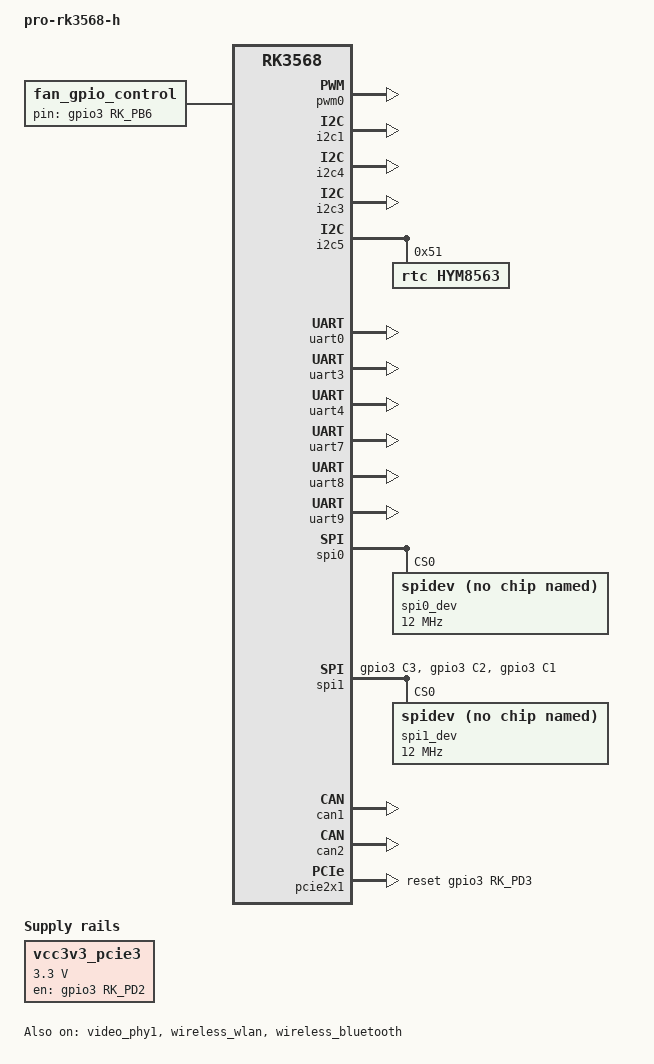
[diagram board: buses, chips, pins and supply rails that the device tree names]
// SPDX-License-Identifier: (GPL-2.0+ OR MIT)
/*
 * Copyright (c) 2020 Rockchip Electronics Co., Ltd.
 *
 */

/dts-v1/;

//rk3568-evb1-ddr4-v10
//#include "rk3568-evb1-ddr4-v10.dtsi"

#include "rk3568-evb-rpdzkj-rk809-pwm-pcie-wifi.dtsi"


#include "../rk3568-linux.dtsi"

/*************************HDMI IN***********************/
#include "rp-mipi-camera-rk628d-csi2hdmi.dtsi"
/***************************************************/

/*************************PCIE***********************/
#include "rk3568-pcie2x1.dtsi"
#include "rp-pcie-5g.dtsi"
/***************************************************/

/*************************adc key***********************/
#include "rp-adc-key.dtsi"
/***************************************************/

/*************************gmac***********************/
#include "rp-gmac0-pro-rk3568.dtsi"
#include "rp-gmac1-m1-pro-rk3568.dtsi"
/***************************************************/

/*************************wifi***********************/
#include "rp-wifi-bt-ap6275p-rk3568.dtsi"
/***************************************************/

/*************************CAN**********************/
#include "rp-can1-m1-rk3568.dtsi"
#include "rp-can2-m0-rk3568.dtsi"
/**************************************************/



/***************** SINGLE LCD (LCD + HDMI) ****************/
#include "pro-rk3568-h-single-lcd-gpio.dtsi" 

/* HDMI */
//#include "rp-lcd-mipi2hdmi-lt8912.dtsi" //dsi1-lt8912-hdmi + HDMI

/* MIPI DSI0 */
//#include "rp-lcd-mipi0-5-720-1280.dtsi"
//#include "rp-lcd-mipi0-5-720-1280-v2.dtsi"
//#include "rp-lcd-mipi0-5-720-1280-v2-boxTP.dtsi"
//#include "rp-lcd-mipi0-5.5-720-1280.dtsi"
//#include "rp-lcd-mipi0-5.5-720-1280-v2.dtsi"
//#include "rp-lcd-mipi0-5.5-1080-1920.dtsi"
//#include "rp-lcd-mipi0-7-720-1280.dtsi"
//#include "rp-lcd-mipi0-7-1024-600.dtsi"
//#include "rp-lcd-mipi0-7-1200-1920.dtsi"
//#include "rp-lcd-mipi0-8-800-1280.dtsi"
//#include "rp-lcd-mipi0-8-800-1280-v2.dtsi"
#include "rp-lcd-mipi0-8-800-1280-v3.dtsi"
//#include "rp-lcd-mipi0-8-1200-1920.dtsi"
//#include "rp-lcd-mipi0-10-800-1280.dtsi"
//#include "rp-lcd-mipi0-10-800-1280-v2.dtsi"
//#include "rp-lcd-mipi0-10-800-1280-v3.dtsi"
//#include "rp-lcd-mipi0-10-1920-1200.dtsi"
//#include "rp-lcd-mipi0-10-1920-1200-jc.dtsi"


/* LVDS */
//#include "rp-lcd-lvds-7-1024-600-v2.dtsi"
//#include "rp-lcd-lvds-10-1024-600.dtsi"
//#include "rp-lcd-lvds-10-1280-800.dtsi"

/*MIPI TO LVDS */
//#include "rp-lcd-mipi0tolvds-gm8775c-10-1024-600-raw.dtsi"
//#include "rp-lcd-mipi0tolvds-gm8775c-1920-1080.dtsi"


/* EDP */
//#include "rp-lcd-edp-13-1920-1080.dtsi"
//#include "rp-lcd-edp-13.3-15.6-1920-1080.dtsi"
//null
//null
//null




#ifdef RP_TRIPLE_LCD
    #include "pro-rk3568-triple-lcd-gpio.dtsi"      // if use triple lcd, must enable it
#endif

#ifdef RP_DUAL_LCD
      #include "pro-rk3568-dual-lcd-gpio.dtsi"        // if use dual lcd, must enable it
#endif






/{

    model = "pro-rk3568-h";
    compatible = "rpdzkj,pro-rk3568-h", "rockchip,rk3568";

    fan_gpio_control {
            compatible = "fan_gpio_control";
            gpio-pin = <&gpio3 RK_PB6 GPIO_ACTIVE_HIGH>;
            thermal-zone = "soc-thermal";
            threshold-temp = <60000>; //60C
            running-time = <10000>; //10s
            status = "okay";
        };
       

        vcc3v3_pcie3: gpio-regulator-pcie3 {
                compatible = "regulator-fixed";
                regulator-name = "vcc3v3_pcie3";
                regulator-always-on;
                regulator-boot-on;
                regulator-min-microvolt = <3300000>;
                regulator-max-microvolt = <3300000>;
                enable-active-high;
                gpio = <&gpio3 RK_PD2 GPIO_ACTIVE_HIGH>;    //In the uboot phase fixed.c resolves gpio
                pinctrl-names = "default";
                pinctrl-0 = <&vcc3v3_pcie30>;
        };
    
        
        rp_power{
                status = "okay";
                compatible = "rp_power";
                rp_not_deep_sleep = <1>;
                
                                pinctrl-names = "default";
                                pinctrl-0 = <&vcc5v0_host_en>;
                                pinctrl-1 = <&vcc5v0_otg_en>;

//#define GPIO_FUNCTION_OUTPUT 0
//#define GPIO_FUNCTION_INPUT 1
//#define GPIO_FUNCTION_IRQ 2
//#define GPIO_FUNCTION_FLASH 3
//#define GPIO_FUNCTION_OUTPUT_CTRL 4


                led {    //system led
                        gpio_num = <&gpio0 RK_PD6 GPIO_ACTIVE_HIGH>;
                        gpio_function = <3>;
                };
       			 usb_pwr {       //usb  power
                        gpio_num = <&gpio0 RK_PA6 GPIO_ACTIVE_HIGH>;
                        gpio_function = <4>;
                };
                hub_rst {    //usb hub
                        gpio_num = <&gpio0 RK_PB0 GPIO_ACTIVE_HIGH>;
                        gpio_function = <4>;
                };
                uart_en {
                        gpio_num = <&gpio1 RK_PA4 GPIO_ACTIVE_HIGH>;
                        gpio_function = <4>;
                };
                otg_power {       //usb otg power
                        gpio_num = <&gpio0 RK_PA5 GPIO_ACTIVE_HIGH>;
                        gpio_function = <4>;
                };
                spk_en {       //spk enable
                        gpio_num = <&gpio1 RK_PB1 GPIO_ACTIVE_HIGH>;
                        gpio_function = <4>;
                };
                4g_power {       //4g power
                  gpio_num = <&gpio3 RK_PD0 GPIO_ACTIVE_HIGH>;
                  gpio_function = <4>;
                };
                spk_mute {       //spk mute
                        gpio_num = <&gpio1 RK_PB2 GPIO_ACTIVE_LOW>;
                        gpio_function = <4>;
                };
                HDMI_5V  {
                        gpio_num = <&gpio3 RK_PC6 GPIO_ACTIVE_HIGH>;
                        gpio_function = <4>;
                };
        };

        rp_gpio{
                status = "okay";
                compatible = "rp_gpio";

                gpio3b5 {       //pcie power
                        gpio_num = <&gpio3 RK_PB5 GPIO_ACTIVE_HIGH>;
                        gpio_function = <0>;
                };
                gpio3a7 {       //pcie clock
                        gpio_num = <&gpio3 RK_PA7 GPIO_ACTIVE_HIGH>;
                        gpio_function = <0>;
                };
        };

	 fiq-debugger {
                compatible = "rockchip,fiq-debugger";
                rockchip,serial-id = <2>;
                rockchip,wake-irq = <0>;
                /* If enable uart uses irq instead of fiq */
                rockchip,irq-mode-enable = <1>;
                rockchip,baudrate = <115200>;  /* Only 115200 and 1500000 */
                interrupts = <GIC_SPI 252 IRQ_TYPE_LEVEL_LOW>;
                pinctrl-names = "default";
                pinctrl-0 = <&uart2m0_xfer>;
                status = "okay";
        };
};


&pmu_io_domains {
        status = "okay";
        pmuio2-supply = <&vcc3v3_pmu>;
        vccio1-supply = <&vccio_acodec>;
        vccio3-supply = <&vccio_sd>;
        vccio4-supply = <&vcc_1v8>;
        vccio5-supply = <&vcc_3v3>;
        vccio6-supply = <&vcc_1v8>;
        vccio7-supply = <&vcc_3v3>;
};



&pwm0 {
        status = "okay";
        pinctrl-names = "active";
};


&i2c1 {
    status = "okay";
};

&i2c4 {
    status = "okay";
};


&i2c3 {
    status = "okay";
};


&i2c5 {
    status = "okay";
        rtc@51 {
                status = "okay";
                compatible = "rtc,hym8563";
                reg = <0x51>;
        };
};

&sdmmc2 {
    status = "disabled";

};

&uart0 {
    status = "okay";
};


&uart3 {
    status = "okay";
    pinctrl-names = "default";
    pinctrl-0 = <&uart3m1_xfer>;
};

&uart4 {
    status = "okay";
    pinctrl-names = "default";
    pinctrl-0 = <&uart4m1_xfer>;
};

&uart7 {
    status = "okay";
    pinctrl-names = "default";
    pinctrl-0 = <&uart7m1_xfer>;
};

&uart8 {
    status = "okay";
    pinctrl-names = "default";
    pinctrl-0 = <&uart8m0_xfer &uart8m0_ctsn>;
};

&uart9 {
    status = "okay";
    pinctrl-names = "default";
    pinctrl-0 = <&uart9m1_xfer>;
};


&spi0 {
    status = "okay";
    pinctrl-names = "default";
        pinctrl-0 = <&spi0m0_cs0 &spi0m0_pins>; 
    spi0_dev@0 {
        compatible = "rockchip,spidev";
        reg = <0>;
       spi-max-frequency = <12000000>;
        spi-lsb-first;
    };
};

&spi1 {
    status = "okay";
    pinctrl-names = "default";
    pinctrl-0 = <&spi1m1_cs0 &spi1m1_pins>;

    spi1_dev@0 {
        compatible = "rockchip,spidev";
        reg = <0>;
        spi-max-frequency = <12000000>;
        spi-lsb-first;
    };
};



&can1 {
       assigned-clocks = <&cru CLK_CAN1>;
       assigned-clock-rates = <200000000>;
       pinctrl-names = "default";
       pinctrl-0 = <&can1m1_pins>;
       status = "okay";
};


&can2 {
        assigned-clocks = <&cru CLK_CAN2>;
        assigned-clock-rates = <200000000>;
        pinctrl-names = "default";
        pinctrl-0 = <&can2m0_pins>;
        status = "okay";
};

&video_phy1 {
    status = "okay";
};

/******** must be close,if not system no run ******/
&dmc {
       status = "disabled";
};

&dfi {
       status = "disabled";
};
/*********************************************/


&pwm7 {
    /****** disable for gpio used to be spi0_cs0 */
    status = "disabled";
};


/**
 * when single mipi1 or edp ports used, pwm need the pwm5,
 * and if mutiple lcd used, we just reference the backlight5.
 */ 
//#if (defined(RP_MIPI1_USED) || defined(RP_EDP_USED)) && defined(RP_SINGLE_LCD)
#if defined(RP_EDP_USED) && defined(RP_SINGLE_LCD)
&backlight4 {
    pwms = <&pwm5 0 25000 0>;
};
#endif


#if defined(RP_SINGLE_LCD) && defined(RP_MIPI02LVDS)

        &backlight4{
                pwms = <&pwm4 0 25000 0>;
        };
       &dsi0_panel {
               enable-gpios = <&gpio0 RK_PC7 GPIO_ACTIVE_LOW>;
       };
#endif


/*************************wifi bt***********************/
&wireless_wlan {
    pinctrl-names = "default";
    pinctrl-0 = <&wifi_host_wake_irq>,<&wifi_poweren_gpio>;
    WIFI,host_wake_irq = <&gpio3 RK_PD4 GPIO_ACTIVE_HIGH>;
        WIFI,poweren_gpio = <&gpio3 RK_PD5 GPIO_ACTIVE_HIGH>;
        status = "okay";
};

&wireless_bluetooth {
    BT,reset_gpio    = <&gpio4 RK_PC4 GPIO_ACTIVE_HIGH>;
    BT,wake_gpio     = <&gpio0 RK_PD5 GPIO_ACTIVE_HIGH>;
    BT,wake_host_irq = <&gpio0 RK_PD4 GPIO_ACTIVE_HIGH>;
    status = "okay";
};

/******************************************************/
&pcie2x1 {
    /**
     * gpio please refer to main dts:
         * reset-gpios = <&gpio* ** ***>;
     */
         reset-gpios = <&gpio3 RK_PD3 GPIO_ACTIVE_HIGH>;

};

&rk_headset {
    pinctrl-names = "default";
    pinctrl-0 = <&hp_det>;
    headset_gpio = <&gpio1 RK_PB0 GPIO_ACTIVE_HIGH>;
};


&pinctrl {
        spi1 {  
                spi1m1_pins: spi1m1-pins {
                        rockchip,pins =
                                /* spi1_clkm1 */
                                <3 RK_PC3 3 &pcfg_pull_none>,
                                /* spi1_misom1 */
                                <3 RK_PC2 3 &pcfg_pull_down>,
                                /* spi1_mosim1 */
                                <3 RK_PC1 3 &pcfg_pull_down>;
                };
};

    headphone {
        hp_det: hp-det {
            rockchip,pins = <1 RK_PB0 RK_FUNC_GPIO &pcfg_pull_down>;
        };
    };
    
    
    usb {
        vcc5v0_host_en: vcc5v0-host-en {
            rockchip,pins = <0 RK_PA6 RK_FUNC_GPIO &pcfg_pull_none>;
        };

        vcc5v0_otg_en: vcc5v0-otg-en {
            rockchip,pins = <0 RK_PA5 RK_FUNC_GPIO &pcfg_pull_none>;
        };
    };
    
       vcc3v3-pcie3 {
               vcc3v3_pcie30: vcc3v3-pcie3 {
                       rockchip,pins = <3 RK_PD2 RK_FUNC_GPIO &pcfg_pull_none>;
               };
       };
    
    wireless-wlan {
        wifi_host_wake_irq: wifi-host-wake-irq {
            rockchip,pins = <3 RK_PD4 RK_FUNC_GPIO &pcfg_pull_down>;
        };
                wifi_poweren_gpio: wifi-poweren-gpio {
                        rockchip,pins = <3 RK_PD5 RK_FUNC_GPIO &pcfg_pull_up>;
                };

    };

    wireless-bluetooth {
        uart8_gpios: uart8-gpios {
            rockchip,pins = <2 RK_PB1 RK_FUNC_GPIO &pcfg_pull_none>;
        };
    };
    
};
